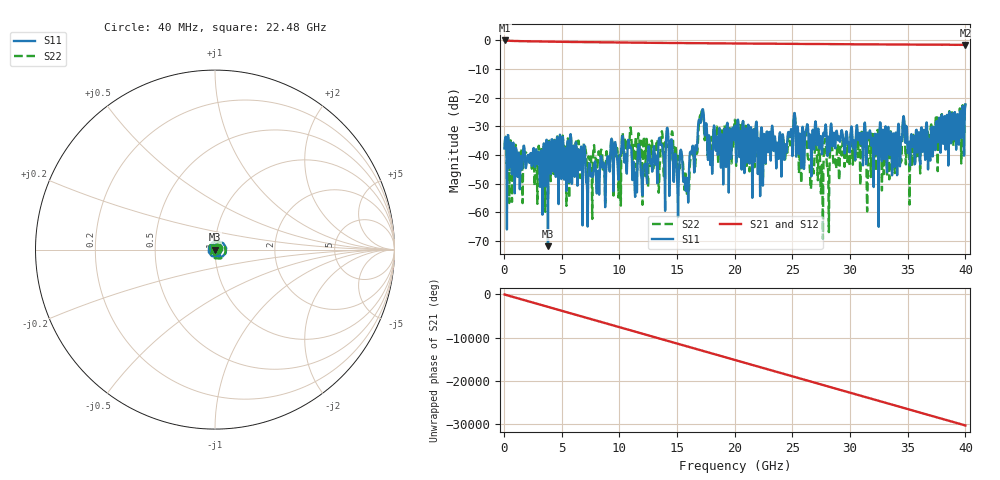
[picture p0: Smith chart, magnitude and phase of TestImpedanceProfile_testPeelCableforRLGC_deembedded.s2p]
# MHz MA S R 50.0
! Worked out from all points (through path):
!   1000 points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, 40 MHz to 40 GHz, reference 50 ohm
!   highest |S21| = -0.03 dB at 40 MHz (marker M1); lowest = -1.6 dB at 40 GHz (marker M2)
!   lowest |S11| = -71.8 dB at 3.8 GHz (marker M3), VSWR 1.00, Z = 50 + j0.0255 ohm
!   |S11| at or under -10 dB: start of sweep to end of sweep
!   |S22| runs from -69.3 to -22.1 dB; largest |S21 - S12| = 0.0019
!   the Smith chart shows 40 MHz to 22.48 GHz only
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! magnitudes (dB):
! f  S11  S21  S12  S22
! 40 MHz  -37.7  0.0  0.0  -38.0
! 3.8 GHz  -71.8  -0.4  -0.4  -55.3
! 6.72 GHz  -38.2  -0.6  -0.6  -38.6
! 8.12 GHz  -46.0  -0.7  -0.7  -42.8
! 9.92 GHz  -48.7  -0.7  -0.7  -54.9
! 10.88 GHz  -37.3  -0.8  -0.8  -34.1
! 11.32 GHz  -51.9  -0.8  -0.8  -44.2
! 13.36 GHz  -38.1  -0.9  -0.9  -42.5
! 14.68 GHz  -49.1  -0.9  -0.9  -38.4
! 15.8 GHz  -51.7  -1.0  -0.9  -49.6
! 17.08 GHz  -27.8  -1.0  -1.0  -25.7
! 17.88 GHz  -43.5  -1.0  -1.0  -38.3
! 20.04 GHz  -29.9  -1.1  -1.1  -28.5
! 24.24 GHz  -37.0  -1.2  -1.2  -35.3
! 25.28 GHz  -31.2  -1.2  -1.2  -30.3
! 26.68 GHz  -36.9  -1.3  -1.3  -46.7
! 31.16 GHz  -38.2  -1.4  -1.4  -37.6
! 31.6 GHz  -34.1  -1.4  -1.4  -36.7
! 32.52 GHz  -36.4  -1.4  -1.4  -35.5
! 33.36 GHz  -32.3  -1.4  -1.4  -38.3
! 36.96 GHz  -42.0  -1.5  -1.5  -32.0
! 40 GHz  -22.4  -1.6  -1.6  -22.1
